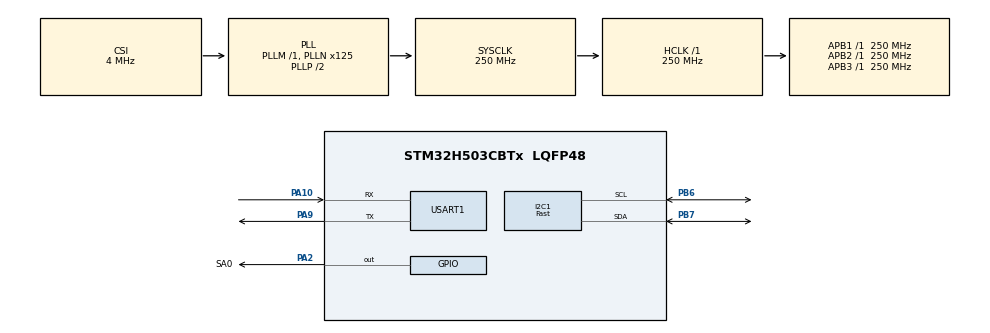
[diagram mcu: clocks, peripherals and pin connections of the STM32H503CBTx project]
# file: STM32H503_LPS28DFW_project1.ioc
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I2C1.I2C_Speed_Mode=I2C_Fast
I2C1.Timing=0x10C043E5
Mcu.Family=STM32H5
Mcu.Name=STM32H503CBTx
Mcu.Package=LQFP48
NVIC.PriorityGroup=NVIC_PRIORITYGROUP_4
PA10.Mode=Asynchronous
PA10.Signal=USART1_RX
PA2.GPIO_Label=SA0
PA2.Signal=GPIO_Output
PA9.Mode=Asynchronous
PA9.Signal=USART1_TX
PB6.Mode=I2C
PB6.Signal=I2C1_SCL
PB7.Mode=I2C
PB7.Signal=I2C1_SDA
ProjectManager.HeapSize=0x200
ProjectManager.StackSize=0x400
ProjectManager.TargetToolchain=MDK-ARM V5.37
RCC.ADCFreq_Value=250000000
RCC.AHBFreq_Value=250000000
RCC.APB1Freq_Value=250000000
RCC.APB1TimFreq_Value=250000000
RCC.APB2Freq_Value=250000000
RCC.APB2TimFreq_Value=250000000
RCC.APB3Freq_Value=250000000
RCC.CSI_VALUE=4000000
RCC.CortexFreq_Value=250000000
RCC.EPOD_VALUE=4000000
RCC.HCLKFreq_Value=250000000
RCC.HSE_VALUE=25000000
RCC.HSI48_VALUE=48000000
RCC.HSI_VALUE=64000000
RCC.LSE_VALUE=32768
RCC.LSIRC_VALUE=32000
RCC.PLL2FRACN=0
RCC.PLLFRACN=0
RCC.PLLN=125
RCC.SYSCLKFreq_VALUE=250000000
RCC.SYSCLKSource=RCC_SYSCLKSOURCE_PLLCLK
RCC.USBFreq_Value=48000000
RCC.VCOOutputFreq_Value=500000000
USART1.VirtualMode-Asynchronous=VM_ASYNC
VP_BOOTPATH_VS_BOOTPATH.Mode=BP_Activate
VP_CORTEX_M33_NS_VS_Hclk.Mode=Hclk_Mode
VP_ICACHE_VS_ICACHE.Mode=DirectMappedCache
VP_MEMORYMAP_VS_MEMORYMAP.Mode=CurAppReg
VP_PWR_VS_DBSignals.Mode=DisableDeadBatterySignals
VP_PWR_VS_LPOM.Mode=PowerOptimisation
VP_PWR_VS_SECSignals.Mode=Security/Privilege
board=custom

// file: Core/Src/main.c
/* USER CODE BEGIN Header */
/**
  ******************************************************************************
  * @file           : main.c
  * @brief          : Main program body
  ******************************************************************************
  * @attention
  *
  * Copyright (c) 2024 STMicroelectronics.
  * All rights reserved.
  *
  * This software is licensed under terms that can be found in the LICENSE file
  * in the root directory of this software component.
  * If no LICENSE file comes with this software, it is provided AS-IS.
  *
  ******************************************************************************
  */
/* USER CODE END Header */
#include "main.h"
#include "i2c.h"
#include "icache.h"
#include "memorymap.h"
#include "usart.h"
#include "gpio.h"

/* USER CODE BEGIN Includes */
#include "stdio.h"

#include "lps28dfw_reg.h"
/* USER CODE END Includes */

void SystemClock_Config(void);
/* USER CODE BEGIN PFP */
int fputc(int ch, FILE *f){
	HAL_UART_Transmit(&huart1 , (uint8_t *)&ch, 1, 0xFFFF);
	return ch;
}
/* USER CODE END PFP */

/* USER CODE BEGIN 0 */

#define SENSOR_BUS hi2c1

/* Private macro -------------------------------------------------------------*/
#define    BOOT_TIME         10 //ms

/* Private variables ---------------------------------------------------------*/
static uint8_t tx_buffer[1000];
static lps28dfw_data_t data;

/* Extern variables ----------------------------------------------------------*/

/* Private functions ---------------------------------------------------------*/
/*
 *   WARNING:
 *   Functions declare in this section are defined at the end of this file
 *   and are strictly related to the hardware platform used.
 *
 */
static int32_t platform_write(void *handle, uint8_t reg, const uint8_t *bufp,
                              uint16_t len);
static int32_t platform_read(void *handle, uint8_t reg, uint8_t *bufp,
                             uint16_t len);
static void tx_com( uint8_t *tx_buffer, uint16_t len );
static void platform_delay(uint32_t ms);
static void platform_init(void);
/* USER CODE END 0 */

int main(void)
{

  /* MCU Configuration--------------------------------------------------------*/

  /* Reset of all peripherals, Initializes the Flash interface and the Systick. */
  HAL_Init();

  /* Configure the system clock */
  SystemClock_Config();

  /* Initialize all configured peripherals */
  MX_GPIO_Init();
  MX_I2C1_Init();
  MX_USART1_UART_Init();
  MX_ICACHE_Init();
  /* USER CODE BEGIN 2 */
	printf("1111111111111111\n");

  lps28dfw_pin_int_route_t int_route;
  lps28dfw_all_sources_t all_sources;
  lps28dfw_bus_mode_t bus_mode;
  lps28dfw_stat_t status;
  stmdev_ctx_t dev_ctx;
  lps28dfw_id_t id;
  lps28dfw_md_t md;

  /* Initialize mems driver interface */
  dev_ctx.write_reg = platform_write;
  dev_ctx.read_reg = platform_read;
  dev_ctx.mdelay = platform_delay;
  dev_ctx.handle = &SENSOR_BUS;

	  HAL_GPIO_WritePin(SA0_GPIO_Port, SA0_Pin, GPIO_PIN_RESET);

  /* Initialize platform specific hardware */
//  platform_init();

  /* Wait sensor boot time */
  platform_delay(BOOT_TIME);

  /* Check device ID */
  lps28dfw_id_get(&dev_ctx, &id);
	printf("LPS28DFW_ID=0x%x,id.whoami=0x%x\n",LPS28DFW_ID,id.whoami);
  if (id.whoami != LPS28DFW_ID)
    while(1);

  /* Restore default configuration */
  lps28dfw_init_set(&dev_ctx, LPS28DFW_RESET);
  do {
    lps28dfw_status_get(&dev_ctx, &status);
  } while (status.sw_reset);

  /* Set bdu and if_inc recommended for driver usage */
  lps28dfw_init_set(&dev_ctx, LPS28DFW_DRV_RDY);

  /* Select bus interface */
  bus_mode.filter = LPS28DFW_AUTO;
  bus_mode.interface = LPS28DFW_SEL_BY_HW;
  lps28dfw_bus_mode_set(&dev_ctx, &bus_mode);

  /* Set Output Data Rate */
  md.odr = LPS28DFW_4Hz;
  md.avg = LPS28DFW_16_AVG;
  md.lpf = LPS28DFW_LPF_ODR_DIV_4;
  md.fs = LPS28DFW_1260hPa;
  lps28dfw_mode_set(&dev_ctx, &md);

  /* Configure inerrupt pins */
  lps28dfw_pin_int_route_get(&dev_ctx, &int_route);
  int_route.drdy_pres   = PROPERTY_DISABLE;
  lps28dfw_pin_int_route_set(&dev_ctx, &int_route);

  /* USER CODE END 2 */

  /* Infinite loop */
  /* USER CODE BEGIN WHILE */
  while (1)
  {

    /* Read output only if new values are available */
    lps28dfw_all_sources_get(&dev_ctx, &all_sources);
    if ( all_sources.drdy_pres | all_sources.drdy_temp ) {
      lps28dfw_data_get(&dev_ctx, &md, &data);

      printf("pressure [hPa]:%6.2f temperature [degC]:%6.2f\r\n",
              data.pressure.hpa, data.heat.deg_c);

    }

    /* USER CODE END WHILE */

  }
}

void SystemClock_Config(void)
{
  RCC_OscInitTypeDef RCC_OscInitStruct = {0};
  RCC_ClkInitTypeDef RCC_ClkInitStruct = {0};

  /** Configure the main internal regulator output voltage
  */
  __HAL_PWR_VOLTAGESCALING_CONFIG(PWR_REGULATOR_VOLTAGE_SCALE0);

  while(!__HAL_PWR_GET_FLAG(PWR_FLAG_VOSRDY)) {}

  /** Initializes the RCC Oscillators according to the specified parameters
  * in the RCC_OscInitTypeDef structure.
  */
  RCC_OscInitStruct.OscillatorType = RCC_OSCILLATORTYPE_CSI;
  RCC_OscInitStruct.CSIState = RCC_CSI_ON;
  RCC_OscInitStruct.CSICalibrationValue = RCC_CSICALIBRATION_DEFAULT;
  RCC_OscInitStruct.PLL.PLLState = RCC_PLL_ON;
  RCC_OscInitStruct.PLL.PLLSource = RCC_PLL1_SOURCE_CSI;
  RCC_OscInitStruct.PLL.PLLM = 1;
  RCC_OscInitStruct.PLL.PLLN = 125;
  RCC_OscInitStruct.PLL.PLLP = 2;
  RCC_OscInitStruct.PLL.PLLQ = 2;
  RCC_OscInitStruct.PLL.PLLR = 2;
  RCC_OscInitStruct.PLL.PLLRGE = RCC_PLL1_VCIRANGE_2;
  RCC_OscInitStruct.PLL.PLLVCOSEL = RCC_PLL1_VCORANGE_WIDE;
  RCC_OscInitStruct.PLL.PLLFRACN = 0;
  if (HAL_RCC_OscConfig(&RCC_OscInitStruct) != HAL_OK)
  {
    Error_Handler();
  }

  /** Initializes the CPU, AHB and APB buses clocks
  */
  RCC_ClkInitStruct.ClockType = RCC_CLOCKTYPE_HCLK|RCC_CLOCKTYPE_SYSCLK
                              |RCC_CLOCKTYPE_PCLK1|RCC_CLOCKTYPE_PCLK2
                              |RCC_CLOCKTYPE_PCLK3;
  RCC_ClkInitStruct.SYSCLKSource = RCC_SYSCLKSOURCE_PLLCLK;
  RCC_ClkInitStruct.AHBCLKDivider = RCC_SYSCLK_DIV1;
  RCC_ClkInitStruct.APB1CLKDivider = RCC_HCLK_DIV1;
  RCC_ClkInitStruct.APB2CLKDivider = RCC_HCLK_DIV1;
  RCC_ClkInitStruct.APB3CLKDivider = RCC_HCLK_DIV1;

  if (HAL_RCC_ClockConfig(&RCC_ClkInitStruct, FLASH_LATENCY_5) != HAL_OK)
  {
    Error_Handler();
  }

  /** Configure the programming delay
  */
  __HAL_FLASH_SET_PROGRAM_DELAY(FLASH_PROGRAMMING_DELAY_2);
}

/* USER CODE BEGIN 4 */
static int32_t platform_write(void *handle, uint8_t reg, const uint8_t *bufp,
                              uint16_t len)
{
  HAL_I2C_Mem_Write(handle, LPS28DFW_I2C_ADD_L, reg,
                    I2C_MEMADD_SIZE_8BIT, (uint8_t*) bufp, len, 1000);
  return 0;
}

static int32_t platform_read(void *handle, uint8_t reg, uint8_t *bufp,
                             uint16_t len)
{
  HAL_I2C_Mem_Read(handle, LPS28DFW_I2C_ADD_L, reg,
                   I2C_MEMADD_SIZE_8BIT, bufp, len, 1000);
  return 0;
}

static void platform_delay(uint32_t ms)
{
  HAL_Delay(ms);
}
/* USER CODE END 4 */

void Error_Handler(void)
{
  __disable_irq();
  while (1)
  {
  }
}
